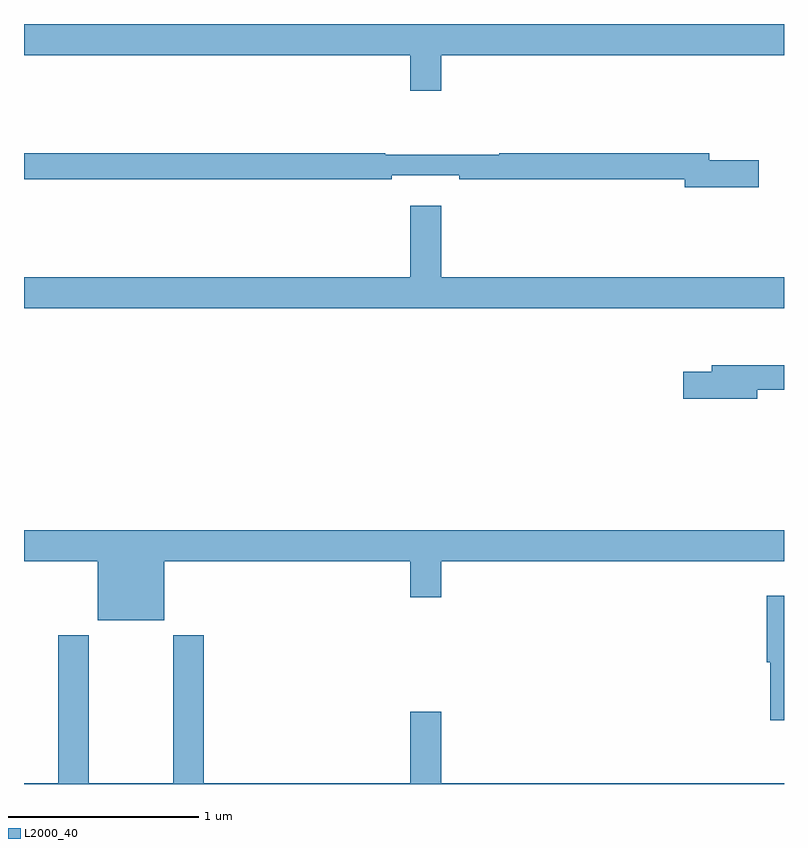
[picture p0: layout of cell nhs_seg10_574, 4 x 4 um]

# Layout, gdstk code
import gdstk
lib = gdstk.Library(unit=1e-6, precision=1e-09)
def P(c, l, *ps):  # polygons
    for p in ps: c.add(gdstk.Polygon(p, *l))
L2000_40 = (2000, 40)

nhs_seg10_574 = lib.new_cell('nhs_seg10_574')
P(nhs_seg10_574, L2000_40, [(141.196,1280.336),(143,1280.336),(143,1280.5),(139,1280.5),(139,1280.336),(141.032,1280.336),(141.032,1280.148),(141.196,1280.148)],
  [(142.867,1279.784),(142.606,1279.784),(142.606,1279.82),(141.502,1279.82),(141.502,1279.813),(140.902,1279.813),(140.902,1279.82),(139,1279.82),(139,1279.684),(140.936,1279.684),(140.936,1279.703),(141.292,1279.703),(141.292,1279.684),(142.478,1279.684),(142.478,1279.642),(142.867,1279.642)],
  [(143,1279.168),(141.196,1279.168),(141.196,1279.543),(141.032,1279.543),(141.032,1279.168),(139,1279.168),(139,1279.004),(143,1279.004)],
  [(142.858,1278.574),(143,1278.574),(143,1278.703),(142.619,1278.703),(142.619,1278.669),(142.47,1278.669),(142.47,1278.527),(142.858,1278.527)],
  [(139.738,1277.672),(141.032,1277.672),(141.032,1277.484),(141.196,1277.484),(141.196,1277.672),(143,1277.672),(143,1277.836),(139,1277.836),(139,1277.672),(139.388,1277.672),(139.388,1277.363),(139.738,1277.363)],
  [(143,1277.491),(142.91,1277.491),(142.91,1277.142),(142.928,1277.142),(142.928,1276.836),(143,1276.836)],
  [(143,1276.504),(141.196,1276.504),(141.196,1276.879),(141.032,1276.879),(141.032,1276.504),(139.946,1276.504),(139.946,1277.284),(139.786,1277.284),(139.786,1276.504),(139.341,1276.504),(139.341,1277.284),(139.181,1277.284),(139.181,1276.504),(139,1276.504),(139,1276.5),(143,1276.5)])

lib.write_gds('nhs_seg10_574.gds')
